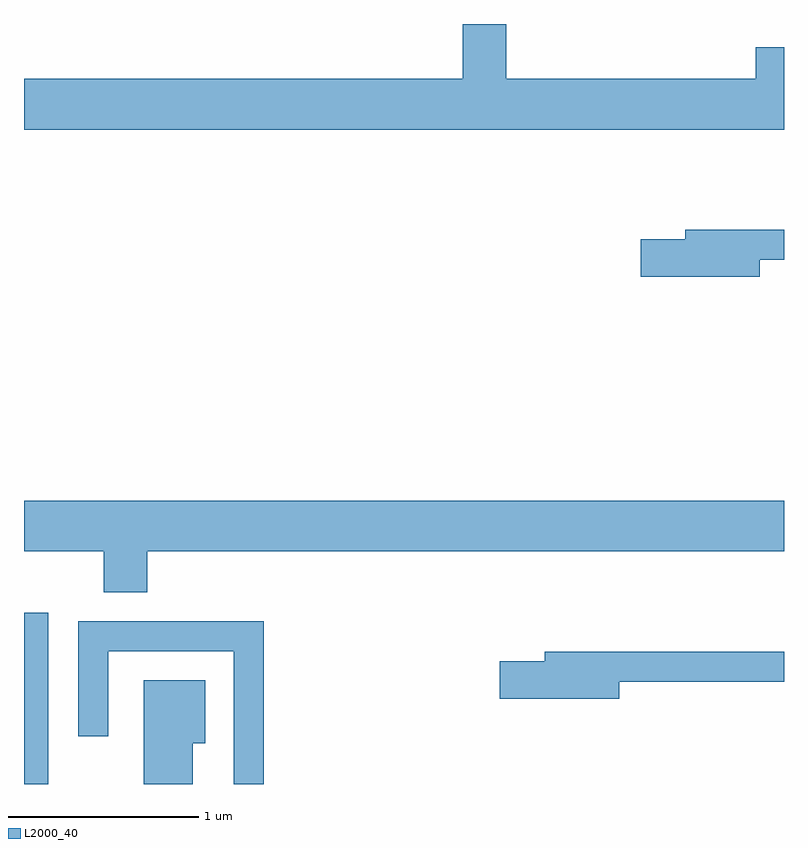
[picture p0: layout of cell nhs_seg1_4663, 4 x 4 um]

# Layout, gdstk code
import gdstk
lib = gdstk.Library(unit=1e-6, precision=1e-09)
def R(c, l, rs):  # rectangles x0, y0, x1, y1
    for r in rs: c.add(gdstk.rectangle(r[:2], r[2:], *l))
def P(c, l, *ps):  # polygons
    for p in ps: c.add(gdstk.Polygon(p, *l))
L2000_40 = (2000, 40)

nhs_seg1_4663 = lib.new_cell('nhs_seg1_4663')
R(nhs_seg1_4663, L2000_40, [(325.611,871.712,325.739,872.614)])
P(nhs_seg1_4663, L2000_40, [(329.611,875.589),(329.461,875.589),(329.461,875.424),(328.149,875.424),(328.149,875.712),(327.921,875.712),(327.921,875.424),(325.611,875.424),(325.611,875.156),(329.611,875.156)],
  [(329.484,874.471),(329.611,874.471),(329.611,874.629),(329.091,874.629),(329.091,874.579),(328.856,874.579),(328.856,874.381),(329.484,874.381)],
  [(326.259,872.936),(329.611,872.936),(329.611,873.204),(325.611,873.204),(325.611,872.936),(326.031,872.936),(326.031,872.721),(326.259,872.721)],
  [(326.874,872.569),(325.896,872.569),(325.896,871.963),(326.054,871.963),(326.054,872.411),(326.716,872.411),(326.716,871.712),(326.874,871.712)],
  [(328.744,872.251),(329.611,872.251),(329.611,872.409),(328.351,872.409),(328.351,872.359),(328.116,872.359),(328.116,872.161),(328.744,872.161)],
  [(326.499,871.926),(326.564,871.926),(326.564,872.259),(326.241,872.259),(326.241,871.712),(326.499,871.712)])

lib.write_gds('nhs_seg1_4663.gds')
